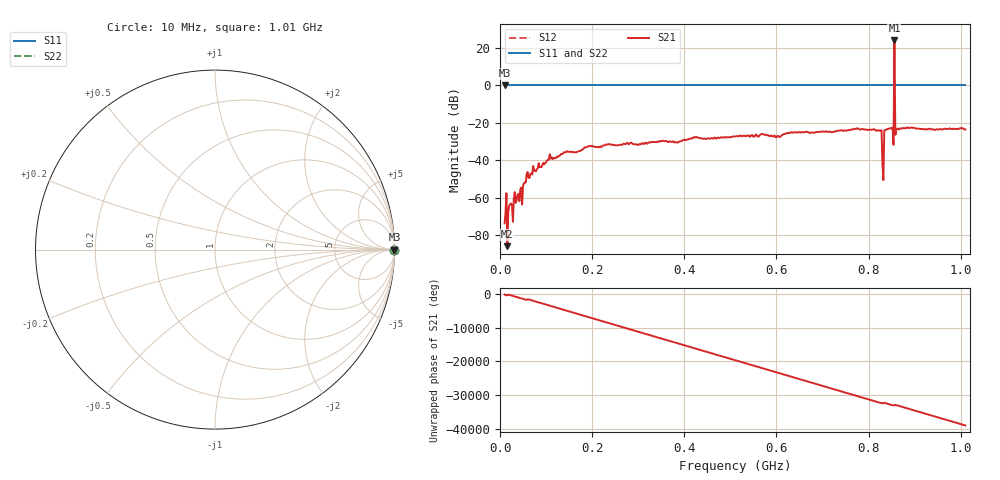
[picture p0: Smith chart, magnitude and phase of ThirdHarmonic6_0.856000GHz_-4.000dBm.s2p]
! 8/16/2025 4:18:32 AM
! C:\ANRITSUVNA\TEMP\TEMP.S2P
! CHANNEL.1
! TR.MEASUREMENT
! RAW.DATA
! RF.CORRECTION.OFF
! AVERAGING.OFF
! IF.BANDWIDTH: 5KHZ
! SWEEPTYPE:  FREQ.SWEEP(Linear)
! Reference Plane Port Info
! PORT:  PORT1  PORT2
! DISTANCE:  0  m  0  m
! TIME:  0  s  0  s
! PHASE.OFFSET:  0  deg.  0  deg.
! LOSS:  0  dB  0  dB
! REF.LOSS:  0  dB  0  dB
! REF.FREQ:  0  Hz  0  Hz
! Power Info
! POWER:  -20  dBm  -20  dBm
! EFF.POWER:  -20  dBm  -20  dBm
! SOURCE.ATTEN:  0  dB  0  dB
! TEST.ATTEN:  0  dB  0  dB
# GHZ S RI R 50.0
! FREQ.GHZ  S11RE  S11IM  S21RE  S21IM  S12RE  S12IM  S22RE  S22IM
!; PortSelection: Port_12
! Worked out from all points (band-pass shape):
!   501 points, 10 MHz to 1.01 GHz, reference 50 ohm
!   highest |S21| = 23.92 dB at 856 MHz (marker M1); lowest = -85.8 dB at 16 MHz (marker M2)
!   |S21| within 3 dB of the highest: 855.8922 MHz to 856.1192 MHz (227 kHz wide, 0.0265 % of centre)
!   lowest |S11| = 0.0 dB at 10 MHz (marker M3)
!   |S11| at or under -10 dB: nowhere
!   |S22| runs from 0.0 to 0.0 dB; largest |S21 - S12| = 17
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0.01  1 0  -0.000194 -7.59e-05  1 0  1 0
0.012  1 0  0.000132 0.000378  1 0  1 0
0.016  1 0  1.56e-05 4.89e-05  1 0  1 0
0.044  1 0  -0.00145 -0.0008  1 0  1 0
0.056  1 0  -0.000653 0.00248  1 0  1 0
0.07  1 0  -0.0015 -0.00391  1 0  1 0
0.108  1 0  -0.011 0.00935  1 0  1 0
0.178  1 0  -0.0184 -0.00474  1 0  1 0
0.344  1 0  0.0305 -0.0057  1 0  1 0
0.51  1 0  -0.0412 0.013  1 0  1 0
0.678  1 0  -0.02 -0.0509  1 0  1 0
0.824  1 0  -0.0394 0.0464  1 0  1 0
0.828  1 0  0.0553 -0.0303  1 0  1 0
0.834  1 0  -0.00532 0.062  1 0  1 0
0.838  1 0  0.0257 -0.0606  1 0  1 0
0.844  1 0  0.0444 0.053  1 0  1 0
0.85  1 0  -0.0698 0.0141  1 0  1 0
0.852  1 0  0.00139 0.0752  1 0  1 0
0.856  1 0  -15.62 -1.649  1 0  1 0
0.86  1 0  -0.0348 0.0556  1 0  1 0
0.862  1 0  0.0519 0.0472  1 0  1 0
1.01  1 0  -0.0609 -0.0267  1 0  1 0
